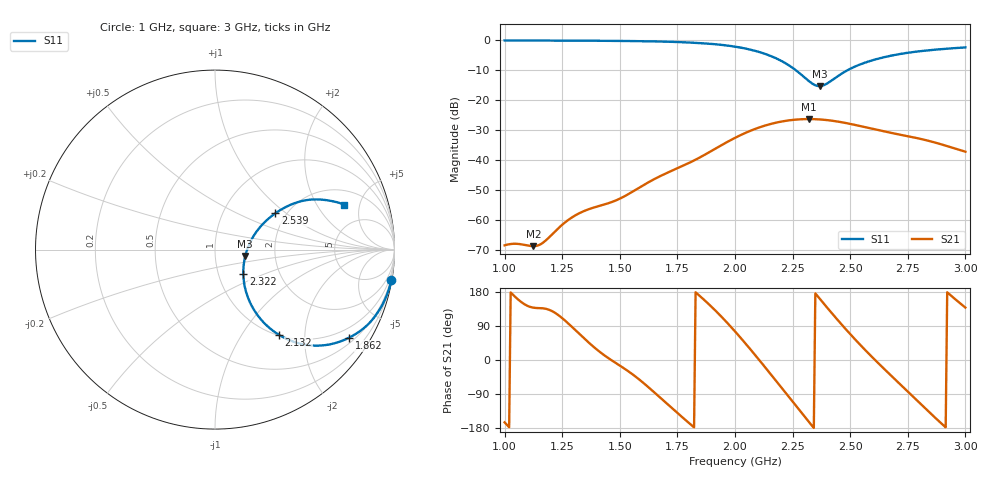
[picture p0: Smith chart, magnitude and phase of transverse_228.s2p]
! TOUCHSTONE file generated by CST MICROWAVE STUDIO
! Date and time: Tue Mar 11 13:57:53 2025
! Project name: transverse.cst
! Parameters = {Fracture=5; B=10; D=160; F=5; Feed=2.85625; L=100; M=30; R=0.384908; S=2; Theta=270; length=57.125; wave=114.25}
! Header version: 2024
! Port assignment regex: !\s*Touchstone port\s*([0-9]+)\s*=\s*(CST MWS port|CST DES external port|CST DES block port)\s*(.+)\s* \(\"(.*)\"\)(\s*mode\s*([0-9]+))?.*
! Touchstone port assignment:
! Touchstone port 1 = CST MWS port 1 ("")
! Touchstone port 2 = CST MWS port 2 ("")
# GHz S MA R 50
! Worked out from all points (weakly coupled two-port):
!   305 points, 1 GHz to 3 GHz, reference 50 ohm
!   highest |S21| = -26.29 dB at 2.322 GHz (marker M1); lowest = -68.8 dB at 1.125 GHz (marker M2)
!   lowest |S11| = -15.3 dB at 2.368 GHz (marker M3), VSWR 1.42, Z = 70.1 - j5.11 ohm
!   |S11| at or under -10 dB: 2.265 GHz to 2.487 GHz (222.8 MHz wide, 9.38 % of centre)
!   S12 and S22 are empty: the file has one direction only
!   S11 on the Smith chart (normalised r, x): 1 GHz: 0, -12; 1.862 GHz: 0.66, -3.22; 2.132 GHz: 1.01, -1.48; 2.322 GHz: 1.32, -0.37; 2.539 GHz: 1.76, +0.84; 3 GHz: 2.98, +3.56
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1  0.9977 -9.8  0.0003766 -164.5  0 0.0  0 0.0
1.04605  0.9969 -10.4  0.0004002 166.5  0 0.0  0 0.0
1.125  0.9956 -11.5  0.0003647 138.0  0 0.0  0 0.0
1.16447  0.995 -12.1  0.000411 136.5  0 0.0  0 0.0
1.26316  0.9923 -13.8  0.0009156 103.6  0 0.0  0 0.0
1.33553  0.9894 -15.1  0.001359 62.5  0 0.0  0 0.0
1.49342  0.9806 -18.7  0.002207 -12.2  0 0.0  0 0.0
1.67105  0.9585 -24.3  0.005299 -97.1  0 0.0  0 0.0
1.86184  0.8936 -33.3  0.01188 161.0  0 0.0  0 0.0
2  0.7865 -42.9  0.02352 75.5  0 0.0  0 0.0
2.06579  0.7019 -48.1  0.03078 28.9  0 0.0  0 0.0
2.13158  0.5931 -53.1  0.03788 -19.8  0 0.0  0 0.0
2.23026  0.3913 -57.1  0.04591 -94.8  0 0.0  0 0.0
2.32237  0.2067 -40.3  0.04849 -164.6  0 0.0  0 0.0
2.33553  0.1898 -33.5  0.04842 -174.4  0 0.0  0 0.0
2.36842  0.1723 -11.9  0.04777 161.2  0 0.0  0 0.0
2.39474  0.1856 4.9  0.04682 141.9  0 0.0  0 0.0
2.45395  0.2645 24.9  0.04354 99.8  0 0.0  0 0.0
2.53947  0.3918 31.0  0.03732 42.6  0 0.0  0 0.0
2.67105  0.5491 29.4  0.02884 -37.4  0 0.0  0 0.0
2.83553  0.6804 23.9  0.02122 -133.3  0 0.0  0 0.0
3  0.7632 19.1  0.01382 138.3  0 0.0  0 0.0
